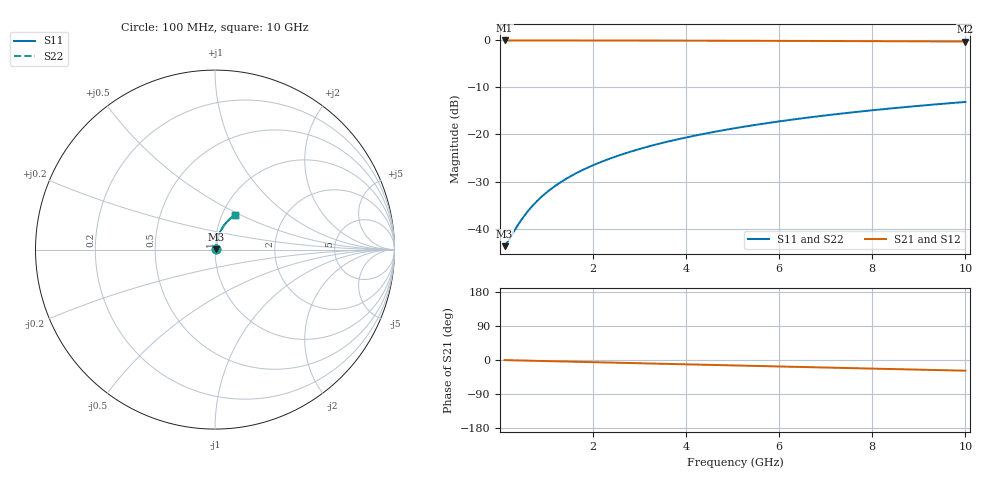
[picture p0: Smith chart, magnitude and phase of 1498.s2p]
# Hz S RI R 50.00
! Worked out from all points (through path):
!   100 points, 100 MHz to 10 GHz, reference 50 ohm
!   highest |S21| = -0.05 dB at 100 MHz (marker M1); lowest = -0.3 dB at 10 GHz (marker M2)
!   group delay of S21, straight-line fit = 7.84 ps
!   lowest |S11| = -43.7 dB at 100 MHz (marker M3), VSWR 1.01, Z = 50.6 + j0.234 ohm
!   |S11| at or under -10 dB: start of sweep to end of sweep
!   |S22| runs from -43.7 to -13.1 dB; largest |S21 - S12| = 0
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1e8  0.00609 0.00231  0.9939 -0.00496  0.9939 -0.00496  0.00609 0.00231
2e8  0.00617 0.00461  0.9938 -0.00992  0.9938 -0.00992  0.00617 0.00461
4e8  0.00636 0.00922  0.9936 -0.0198  0.9936 -0.0198  0.00636 0.00922
5e8  0.00648 0.0115  0.9934 -0.0248  0.9934 -0.0248  0.00648 0.0115
6e8  0.00662 0.0138  0.9932 -0.0298  0.9932 -0.0298  0.00662 0.0138
7e8  0.00679 0.0161  0.993 -0.0347  0.993 -0.0347  0.00679 0.0161
8e8  0.00698 0.0184  0.9928 -0.0397  0.9928 -0.0397  0.00698 0.0184
1e9  0.00741 0.023  0.9922 -0.0496  0.9922 -0.0496  0.00741 0.023
1.2e9  0.00794 0.0276  0.9915 -0.0594  0.9915 -0.0594  0.00794 0.0276
1.5e9  0.0089 0.0344  0.9903 -0.0743  0.9903 -0.0743  0.0089 0.0344
1.8e9  0.0101 0.0412  0.9887 -0.089  0.9887 -0.089  0.0101 0.0412
2.1e9  0.0114 0.048  0.987 -0.1038  0.987 -0.1038  0.0114 0.048
2.5e9  0.0135 0.057  0.9842 -0.1233  0.9842 -0.1233  0.0135 0.057
2.9e9  0.016 0.0658  0.9809 -0.1428  0.9809 -0.1428  0.016 0.0658
3.4e9  0.0196 0.0767  0.9762 -0.167  0.9762 -0.167  0.0196 0.0767
4.2e9  0.0264 0.0937  0.9672 -0.2053  0.9672 -0.2053  0.0264 0.0937
5.1e9  0.0357 0.112  0.955 -0.2476  0.955 -0.2476  0.0357 0.112
5.9e9  0.0452 0.1275  0.9423 -0.2844  0.9423 -0.2844  0.0452 0.1275
6.7e9  0.0558 0.1422  0.928 -0.3203  0.928 -0.3203  0.0558 0.1422
7.5e9  0.0675 0.1559  0.9121 -0.3553  0.9121 -0.3553  0.0675 0.1559
8.4e9  0.0819 0.1701  0.8926 -0.3935  0.8926 -0.3935  0.0819 0.1701
1e10  0.11 0.1918  0.8536 -0.4579  0.8536 -0.4579  0.11 0.1918
